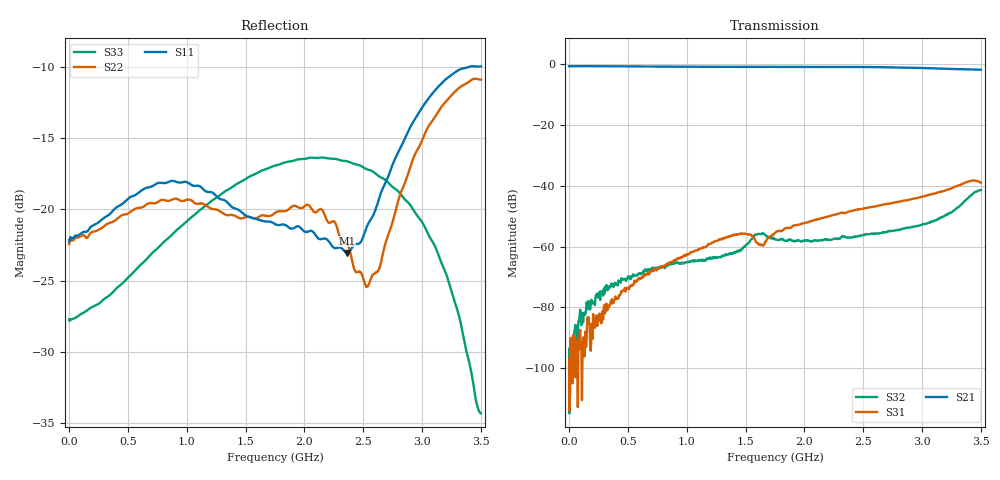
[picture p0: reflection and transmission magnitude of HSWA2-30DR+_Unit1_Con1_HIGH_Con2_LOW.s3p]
!Created: 04-04-2014 at 11:07:18
!MODEL: HSWA2-30DR+
!S/N: Unit 1
!RUN:QN1045128, D/C:1042
!All RF1 ON
!PORT EXTENSION HAS BEEN DONE
!PORT-1= PIN-8, PORT-2=PIN-3, PORT-3=PIN-13.
# MHZ S DB R 50
!Frequency  S11 dB  S11 DEG  S12 dB  S12 DEG  S13 dB  S13 DEG
!  S21 dB  S21 DEG  S22 dB  S22 DEG  S23 dB  S23 DEG
!  S31 dB  S31 DEG  S32 dB  S32 DEG  S33 dB  S33 DEG
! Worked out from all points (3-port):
!   708 points, 1 MHz to 3.5 GHz, reference 50 ohm
!   strongest paths, dB at 1 MHz, 850 MHz, 1.735 GHz, 2.62 GHz, 3.5 GHz:
!     S21: -0.7, -0.9, -1.0, -1.0, -1.9
!     S31: -109.7, -65.4, -56.1, -46.6, -39.0
!     S32: -106.4, -65.9, -57.1, -55.7, -41.4
!   lowest |S11| = -23.1 dB at 2.36 GHz (marker M1), VSWR 1.15, Z = 53.1 - j6.56 ohm
!   |S11| at or under -10 dB: start of sweep to 3.399 GHz
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1  -22.21 0.8  -0.74 -0.1  -100.78 -56.6
   -0.74 -0.1  -22.43 1.0  -110.61 -35.6
   -109.67 131.0  -106.36 -122.5  -27.71 -0.5
325  -20.44 -39.6  -0.74 -8.1  -80.43 145.3
     -0.74 -8.1  -21.00 -37.6  -74.60 97.3
     -80.95 149.9  -74.38 93.4  -26.14 -13.9
620  -18.64 -59.6  -0.81 -14.6  -69.63 162.9
     -0.81 -14.7  -19.85 -59.3  -68.93 99.1
     -70.31 159.8  -68.74 101.3  -23.79 -16.9
1235  -18.92 -66.2  -0.92 -27.5  -58.45 173.8
      -0.92 -27.5  -19.97 -62.4  -63.45 117.8
      -58.34 173.5  -63.40 117.7  -19.26 -3.6
1595  -20.67 -46.1  -0.96 -35.0  -58.68 153.7
      -0.96 -35.0  -20.61 -37.9  -55.98 130.0
      -58.74 154.3  -55.98 130.4  -17.46 9.4
1755  -21.03 -37.1  -0.96 -38.3  -55.37 -170.8
      -0.96 -38.4  -20.20 -26.2  -57.63 111.9
      -55.40 -171.1  -57.71 110.9  -16.91 15.8
2360  -23.05 -60.9  -0.98 -51.9  -48.80 -169.5
      -0.98 -51.9  -22.39 -33.1  -57.02 131.4
      -48.78 -169.7  -57.00 131.2  -16.61 41.3
2540  -21.04 -98.6  -1.00 -56.4  -47.18 -171.1
      -1.00 -56.5  -25.38 -75.6  -55.89 140.2
      -47.21 -171.2  -55.88 139.5  -17.20 48.6
3015  -12.67 -143.7  -1.34 -68.5  -43.52 -173.0
      -1.33 -68.5  -14.86 -154.6  -52.58 160.3
      -43.50 -173.0  -52.52 161.5  -21.09 64.9
3500  -9.96 -156.4  -1.89 -77.9  -39.01 140.1
      -1.88 -77.9  -10.89 -167.7  -41.35 140.3
      -39.04 140.8  -41.41 140.3  -34.29 27.9
